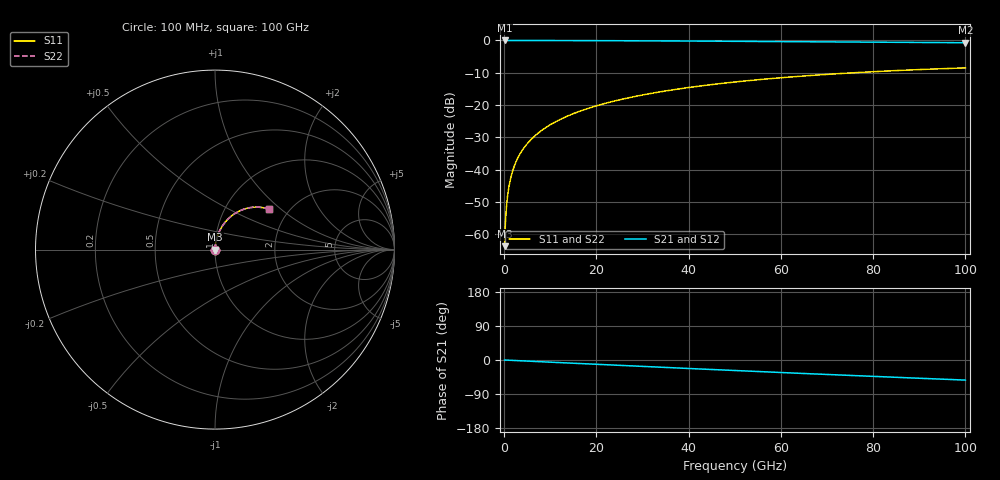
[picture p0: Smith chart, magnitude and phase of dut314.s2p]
! Touchstone file exported from HFSS 2026.1.0
!  File:  C:/ffzhzh/LocalFiles/Ansys_Project_Files/temp_train_TSV_314_1783509382_9504.aedt
!  Generated:  07:17:40 PM Jul  8, 2026
!  Design:  TSV
!  Project:  temp_train_TSV_314_1783509382_9504
! Variables:
!  h_bsmrdl = 2um
!  h_ox = 20um
!  h_rdl = 5um
!  h_sub = 97.2um
!  h_tmrdl = 5um
!  h_tsv = 97.2um
!  h_via = 3um
!  l_bsmrdl = 300um
!  l_sub = 411.38um
!  l_tmrdl = 200um
!  m_sub = 200um
!  pitch = 52.32um
!  r_tsv = 5.69um
!  s_tmrdl = 10um
!  w_bsmrdl = 18um
!  w_sub = 500um
!  w_tmrdl = 12um
!  x_tsv_center1 = 206um
!  x_tsv_center2 = 524um
!  x_tsv_center3 = 736um
!  x_tsv_center4 = 1054um
!  x_tsv_center5 = 1266um
!  x_tsv_center6 = 1584um
# GHz S MA R 50.000000
! Terminal data exported
! Port[1] = TSV1_1_T1
! Port[2] = TSV1_1_T2
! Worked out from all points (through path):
!   1000 points, 100 MHz to 100 GHz, reference 50 ohm
!   highest |S21| = 0.00 dB at 100 MHz (marker M1); lowest = -0.7 dB at 100 GHz (marker M2)
!   group delay of S21, straight-line fit = 1.47 ps
!   lowest |S11| = -63.7 dB at 100 MHz (marker M3), VSWR 1.00, Z = 50 + j0.054 ohm
!   |S11| at or under -10 dB: start of sweep to 75.75 GHz
!   |S22| runs from -63.7 to -8.5 dB; largest |S21 - S12| = 2.8e-15
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0.1  0.0006565 55.3  0.9996 -0.1  0.9996 -0.1  0.0006565 55.3
! Gamma 0 0 0 0
! Port Impedance 50 0 50 0
0.4  0.002156 78.7  0.9996 -0.2  0.9996 -0.2  0.002156 78.7
0.7  0.003703 82.7  0.9995 -0.4  0.9995 -0.4  0.003703 82.7
0.8  0.00422 83.3  0.9995 -0.5  0.9995 -0.5  0.00422 83.3
1  0.005253 84.1  0.9995 -0.6  0.9995 -0.6  0.005253 84.1
1.3  0.006797 84.7  0.9994 -0.8  0.9994 -0.8  0.006797 84.7
1.7  0.008842 85.1  0.9994 -1.0  0.9994 -1.0  0.008842 85.1
2.3  0.01188 85.2  0.9992 -1.3  0.9992 -1.3  0.01188 85.2
3  0.01538 85.1  0.999 -1.7  0.999 -1.7  0.01538 85.1
3.8  0.01934 84.9  0.9988 -2.2  0.9988 -2.2  0.01934 84.9
4.8  0.02426 84.6  0.9986 -2.8  0.9986 -2.8  0.02426 84.6
6  0.03015 84.2  0.9983 -3.5  0.9983 -3.5  0.03015 84.2
8.8  0.04381 83.0  0.9975 -5.0  0.9975 -5.0  0.04381 83.0
12.4  0.06124 81.2  0.9963 -7.1  0.9963 -7.1  0.06124 81.2
16.8  0.08228 79.0  0.9945 -9.6  0.9945 -9.6  0.08228 79.0
24.2  0.1169 75.1  0.9907 -13.7  0.9907 -13.7  0.1169 75.1
33.4  0.1585 70.2  0.9845 -18.8  0.9845 -18.8  0.1585 70.2
41.2  0.192 66.0  0.9782 -23.0  0.9782 -23.0  0.192 66.0
50.1  0.2279 61.3  0.9703 -27.8  0.9703 -27.8  0.2279 61.3
66.7  0.2879 52.8  0.9539 -36.5  0.9539 -36.5  0.2879 52.8
83.4  0.3377 44.4  0.9372 -44.9  0.9372 -44.9  0.3377 44.5
100  0.3763 36.4  0.9222 -53.0  0.9222 -53.0  0.3763 36.5
